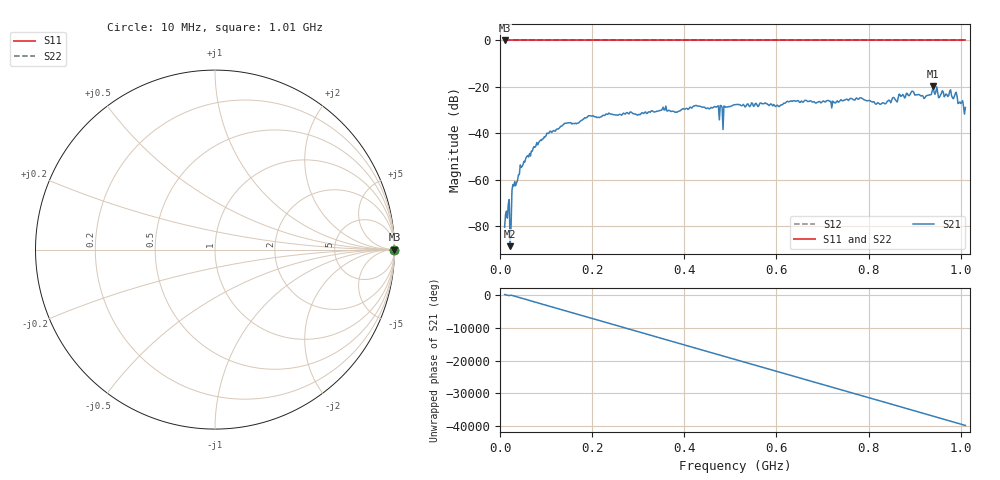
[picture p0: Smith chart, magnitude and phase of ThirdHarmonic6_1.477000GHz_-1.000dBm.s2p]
! 8/16/2025 5:14:59 PM
! C:\ANRITSUVNA\TEMP\TEMP.S2P
! CHANNEL.1
! TR.MEASUREMENT
! RAW.DATA
! RF.CORRECTION.OFF
! AVERAGING.OFF
! IF.BANDWIDTH: 5KHZ
! SWEEPTYPE:  FREQ.SWEEP(Linear)
! Reference Plane Port Info
! PORT:  PORT1  PORT2
! DISTANCE:  0  m  0  m
! TIME:  0  s  0  s
! PHASE.OFFSET:  0  deg.  0  deg.
! LOSS:  0  dB  0  dB
! REF.LOSS:  0  dB  0  dB
! REF.FREQ:  0  Hz  0  Hz
! Power Info
! POWER:  -20  dBm  -20  dBm
! EFF.POWER:  -20  dBm  -20  dBm
! SOURCE.ATTEN:  0  dB  0  dB
! TEST.ATTEN:  0  dB  0  dB
# GHZ S RI R 50.0
! FREQ.GHZ  S11RE  S11IM  S21RE  S21IM  S12RE  S12IM  S22RE  S22IM
!; PortSelection: Port_12
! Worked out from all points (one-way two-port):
!   501 points, 10 MHz to 1.01 GHz, reference 50 ohm
!   highest |S21| = -19.77 dB at 940 MHz (marker M1); lowest = -88.5 dB at 22 MHz (marker M2)
!   lowest |S11| = 0.0 dB at 10 MHz (marker M3)
!   |S11| at or under -10 dB: nowhere
!   |S22| runs from 0.0 to 0.0 dB; largest |S21 - S12| = 1.1
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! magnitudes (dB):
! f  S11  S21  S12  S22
! 10 MHz  0.0  -80.4  0.0  0.0
! 16 MHz  0.0  -76.5  0.0  0.0
! 20 MHz  0.0  -68.5  0.0  0.0
! 22 MHz  0.0  -88.5  0.0  0.0
! 26 MHz  0.0  -64.5  0.0  0.0
! 30 MHz  0.0  -62.6  0.0  0.0
! 48 MHz  0.0  -54.2  0.0  0.0
! 76 MHz  0.0  -45.9  0.0  0.0
! 106 MHz  0.0  -40.0  0.0  0.0
! 178 MHz  0.0  -34.3  0.0  0.0
! 344 MHz  0.0  -30.4  0.0  0.0
! 470 MHz  0.0  -28.6  0.0  0.0
! 480 MHz  0.0  -28.1  0.0  0.0
! 490 MHz  0.0  -28.8  0.0  0.0
! 510 MHz  0.0  -27.7  0.0  0.0
! 678 MHz  0.0  -26.5  0.0  0.0
! 844 MHz  0.0  -25.7  0.0  0.0
! 894 MHz  0.0  -21.8  0.0  0.0
! 922 MHz  0.0  -24.7  0.0  0.0
! 940 MHz  0.0  -19.8  0.0  0.0
! 988 MHz  0.0  -22.9  0.0  0.0
! 1.01 GHz  0.0  -28.9  0.0  0.0
